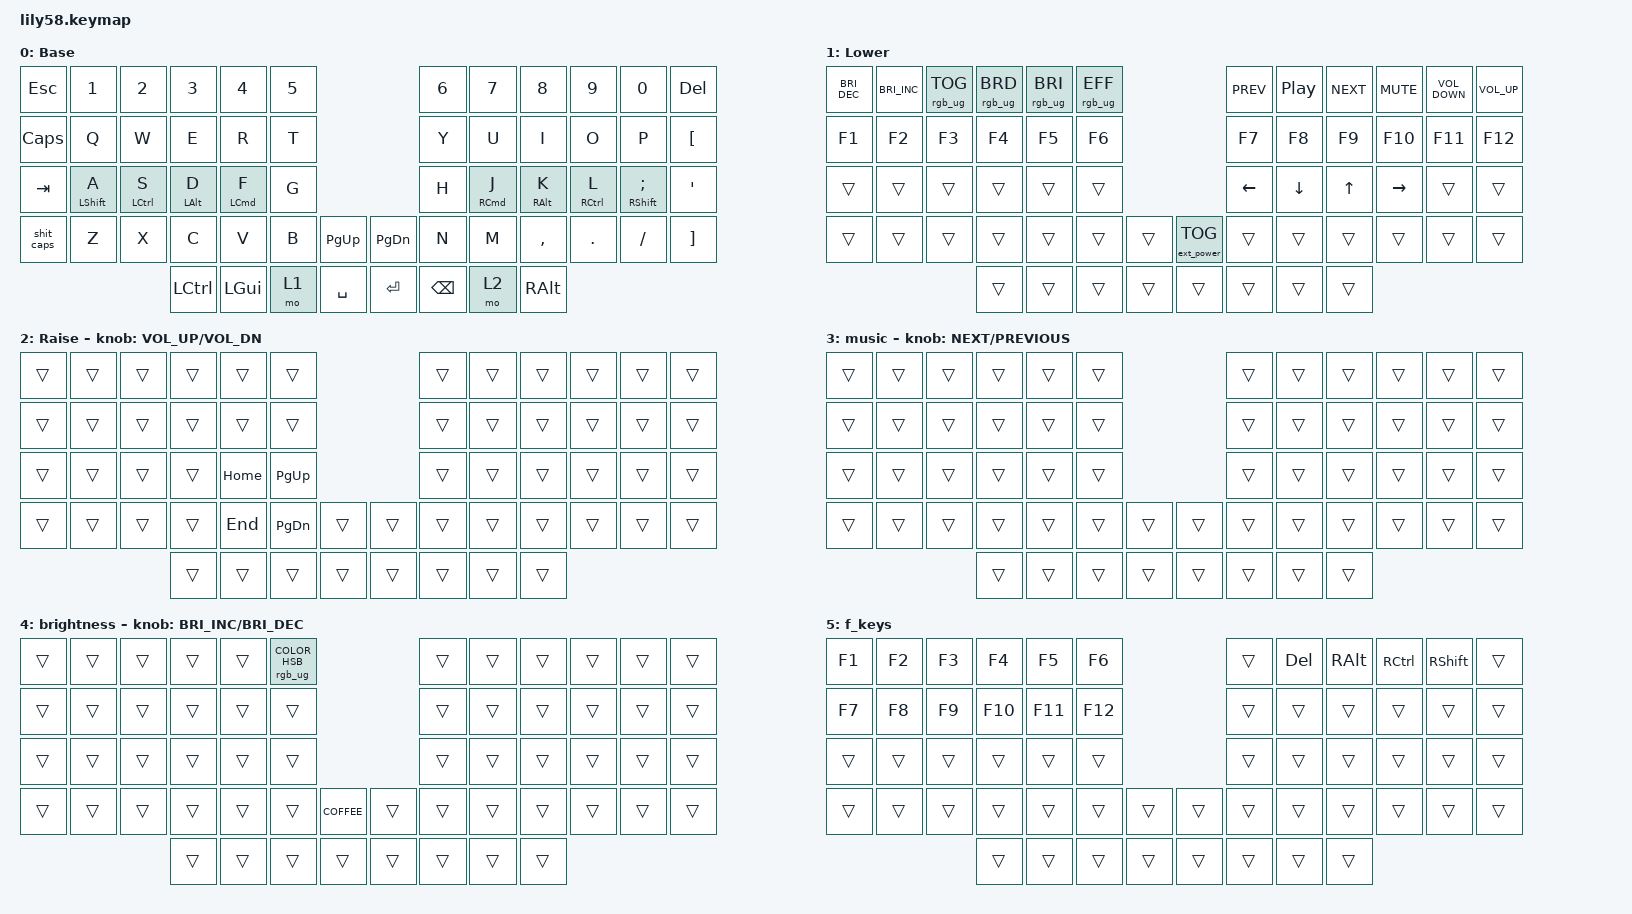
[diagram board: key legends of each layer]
/*
 * Copyright (c) 2020 The ZMK Contributors
 *
 * SPDX-License-Identifier: MIT
 */

#include <behaviors.dtsi>
#include <dt-bindings/zmk/ext_power.h>
#include <dt-bindings/zmk/keys.h>
#include <dt-bindings/zmk/rgb.h>

&led_strip {
    chain-length = <35>;
};

&nice_view_spi {
    cs-gpios = <&pro_micro 0 GPIO_ACTIVE_HIGH>;
};

/ {
    behaviors {
        hml: hml {
            compatible = "zmk,behavior-hold-tap";
            label = "HML";
            bindings = <&kp>, <&kp>;

            #binding-cells = <2>;
            tapping-term-ms = <200>;
            quick-tap-ms = <175>;
            require-prior-idle-ms = <150>;
            flavor = "balanced";
            hold-trigger-key-positions = <5 3 1 0 2 4 29 17 16 15 14 13 12 24 25 26 27 28 42 53 51 52 50 36 37 39 38 40 41 54 55 56 57>;
            hold-trigger-on-release;
        };

        hmr: hmr {
            compatible = "zmk,behavior-hold-tap";
            label = "HMR";
            bindings = <&kp>, <&kp>;

            #binding-cells = <2>;
            tapping-term-ms = <200>;
            quick-tap-ms = <175>;
            require-prior-idle-ms = <150>;
            flavor = "balanced";
            hold-trigger-on-release;
            hold-trigger-key-positions = <53 52 51 50 6 7 8 9 10 11 23 22 21 20 19 18 30 43 31 33 32 34 35 49 48 47 44 45 46 57 56 55 54>;
        };

        shit_caps: shit_caps {
            compatible = "zmk,behavior-tap-dance";
            label = "SHIT_CAPS";
            #binding-cells = <0>;
            bindings = <&kp LEFT_SHIFT>, <&kp CAPSLOCK>;
        };
    };

    combos {
        compatible = "zmk,combos";

        lpar_comb {
            bindings = <&kp LEFT_PARENTHESIS>;
            key-positions = <16 17>;
        };

        rpar_comb {
            bindings = <&kp RIGHT_PARENTHESIS>;
            key-positions = <18 19>;
        };

        lbkt_comb {
            bindings = <&kp LEFT_BRACKET>;
            key-positions = <28 29>;
        };

        rbkt_comb {
            bindings = <&kp RIGHT_BRACKET>;
            key-positions = <30 31>;
        };

        lbrc_comb {
            bindings = <&kp LEFT_BRACE>;
            key-positions = <40 41>;
        };

        rbrc_comb {
            bindings = <&kp RIGHT_BRACE>;
            key-positions = <44 45>;
        };

        pipe_comb {
            bindings = <&kp PIPE>;
            key-positions = <31 32>;
        };

        bsl_comb {
            bindings = <&kp BACKSLASH>;
            key-positions = <32 33>;
        };

        tld_comb {
            bindings = <&kp TILDE>;
            key-positions = <27 28>;
        };

        grv_comb {
            bindings = <&kp GRAVE>;
            key-positions = <27 26>;
        };

        pls_comb {
            bindings = <&kp PLUS>;
            key-positions = <40 39>;
        };

        ast_comb {
            bindings = <&kp ASTERISK>;
            key-positions = <39 38>;
        };

        mns_comb {
            bindings = <&kp MINUS>;
            key-positions = <45 46>;
        };

        uds_comb {
            bindings = <&kp UNDERSCORE>;
            key-positions = <46 47>;
        };

        eq_comb {
            bindings = <&kp EQUAL>;
            key-positions = <31 32 33>;
        };

        exc_comb {
            bindings = <&kp EXCLAMATION>;
            key-positions = <28 27 26>;
        };

        dlr_comb {
            bindings = <&kp DOLLAR>;
            key-positions = <31 20>;
        };

        crt_comb {
            bindings = <&kp CARET>;
            key-positions = <28 15>;
        };

        hsh_comb {
            bindings = <&kp HASH>;
            key-positions = <16 15>;
        };

        pct_comb {
            bindings = <&kp PERCENT>;
            key-positions = <20 19>;
        };

        at_comb {
            bindings = <&kp AT>;
            key-positions = <15 14>;
        };

        amp_comb {
            bindings = <&kp AMPERSAND>;
            key-positions = <20 21>;
        };
    };

    keymap {
        compatible = "zmk,keymap";

        default_layer {
            // ------------------------------------------------------------------------------------------------------------
            // |  ESC  |  1  |  2  |  3   |  4   |  5   |                   |  6   |  7    |  8    |  9   |   0   |   `   |
            // |  TAB  |  Q  |  W  |  E   |  R   |  T   |                   |  Y   |  U    |  I    |  O   |   P   |   -   |
            // |  CTRL |  A  |  S  |  D   |  F   |  G   |                   |  H   |  J    |  K    |  L   |   ;   |   '   |
            // | SHIFT |  Z  |  X  |  C   |  V   |  B   |   "["  |  |  "]"  |  N   |  M    |  ,    |  .   |   /   | SHIFT |
            //                     | ALT  | GUI  | LOWER|  SPACE |  | ENTER | RAISE| BSPC  | GUI   |

            display-name = "Base";
            bindings = <
&kp ESC       &kp N1             &kp N2               &kp N3            &kp N4               &kp N5                                &kp N6         &kp N7                &kp N8            &kp N9                &kp N0                      &kp DELETE
&kp CAPSLOCK  &kp Q              &kp W                &kp E             &kp R                &kp T                                 &kp Y          &kp U                 &kp I             &kp O                 &kp P                       &kp LEFT_BRACKET
&kp TAB       &hml LEFT_SHIFT A  &hml LEFT_CONTROL S  &hml LEFT_ALT D   &hml LEFT_COMMAND F  &kp G                                 &kp H          &hmr RIGHT_COMMAND J  &hmr RIGHT_ALT K  &hmr RIGHT_CONTROL L  &hmr RIGHT_SHIFT SEMICOLON  &kp SQT
&shit_caps    &kp Z              &kp X                &kp C             &kp V                &kp B   &kp PAGE_UP    &kp PAGE_DOWN  &kp N          &kp M                 &kp COMMA         &kp DOT               &kp FSLH                    &kp RIGHT_BRACKET
                                                      &kp LEFT_CONTROL  &kp LGUI             &mo 1   &kp SPACE      &kp RET        &kp BACKSPACE  &mo 2                 &kp RIGHT_ALT
            >;
        };

        lower_layer {
            // ------------------------------------------------------------------------------------------------------------
            // | BTCLR | BT1 | BT2 |  BT3 |  BT4 |  BT5 |                   |      |       |       |      |       |       |
            // |  F1   |  F2 |  F3 |  F4  |  F5  |  F6  |                   |  F7  |  F8   |  F9   |  F10 |  F11  |  F12  |
            // |   `   |  !  |  @  |  #   |  $   |  %   |                   |  ^   |  &    |  *    |  (   |   )   |   ~   |
            // |       |     |     |      |      |      |        |  |       |      |  _    |  +    |  {   |   }   |  "|"  |
            //                     |      |      |      |        |  |       |      |       |       |

            display-name = "Lower";
            bindings = <
&kp C_BRIGHTNESS_DEC  &kp C_BRIGHTNESS_INC  &rgb_ug RGB_TOG  &rgb_ug RGB_BRD  &rgb_ug RGB_BRI  &rgb_ug RGB_EFF                               &kp C_PREV  &kp C_PP  &kp C_NEXT    &kp K_MUTE  &kp C_VOLUME_DOWN  &kp C_VOLUME_UP
&kp F1                &kp F2                &kp F3           &kp F4           &kp F5           &kp F6                                        &kp F7      &kp F8    &kp F9        &kp F10     &kp F11            &kp F12
&trans                &trans                &trans           &trans           &trans           &trans                                        &kp LEFT    &kp DOWN  &kp UP_ARROW  &kp RIGHT   &trans             &trans
&trans                &trans                &trans           &trans           &trans           &trans           &trans    &ext_power EP_TOG  &trans      &trans    &trans        &trans      &trans             &trans
                                                             &trans           &trans           &trans           &trans    &trans             &trans      &trans    &trans
            >;
        };

        raise_layer {
            // ------------------------------------------------------------------------------------------------------------
            // |       |     |     |      |      |      |                   |      |       |       |      |       |       |
            // |   `   |  1  |  2  |  3   |  4   |  5   |                   |  6   |   7   |   8   |  9   |   0   |       |
            // |   F1  |  F2 |  F3 |  F4  |  F5  |  F6  |                   |      |   <-  |   v   |  ^   |  ->   |       |
            // |   F7  |  F8 |  F9 |  F10 |  F11 |  F12 |        |  |       |  +   |   -   |   =   |  [   |   ]   |   \   |
            //                     |      |      |      |        |  |       |      |       |       |

            display-name = "Raise";
            bindings = <
&trans  &trans  &trans  &trans  &trans    &trans                       &trans  &trans  &trans  &trans  &trans  &trans
&trans  &trans  &trans  &trans  &trans    &trans                       &trans  &trans  &trans  &trans  &trans  &trans
&trans  &trans  &trans  &trans  &kp HOME  &kp PG_UP                    &trans  &trans  &trans  &trans  &trans  &trans
&trans  &trans  &trans  &trans  &kp END   &kp PG_DN  &trans    &trans  &trans  &trans  &trans  &trans  &trans  &trans
                        &trans  &trans    &trans     &trans    &trans  &trans  &trans  &trans
            >;

            sensor-bindings = <&inc_dec_kp C_VOL_UP C_VOL_DN>;
        };

        music {
            bindings = <
&trans  &trans  &trans  &trans  &trans  &trans                    &trans  &trans  &trans  &trans  &trans  &trans
&trans  &trans  &trans  &trans  &trans  &trans                    &trans  &trans  &trans  &trans  &trans  &trans
&trans  &trans  &trans  &trans  &trans  &trans                    &trans  &trans  &trans  &trans  &trans  &trans
&trans  &trans  &trans  &trans  &trans  &trans  &trans    &trans  &trans  &trans  &trans  &trans  &trans  &trans
                        &trans  &trans  &trans  &trans    &trans  &trans  &trans  &trans
            >;

            sensor-bindings = <&inc_dec_kp C_NEXT C_PREVIOUS>;
        };

        brightness {
            bindings = <
&trans  &trans  &trans  &trans  &trans  &rgb_ug RGB_COLOR_HSB(178,100,50)                          &trans  &trans  &trans  &trans  &trans  &trans
&trans  &trans  &trans  &trans  &trans  &trans                                                     &trans  &trans  &trans  &trans  &trans  &trans
&trans  &trans  &trans  &trans  &trans  &trans                                                     &trans  &trans  &trans  &trans  &trans  &trans
&trans  &trans  &trans  &trans  &trans  &trans                             &kp K_COFFEE    &trans  &trans  &trans  &trans  &trans  &trans  &trans
                        &trans  &trans  &trans                             &trans          &trans  &trans  &trans  &trans
            >;

            sensor-bindings = <&inc_dec_kp C_BRIGHTNESS_INC C_BRIGHTNESS_DEC>;
        };

        f_keys {
            bindings = <
&kp F1  &kp F2  &kp F3  &kp F4   &kp F5   &kp F6                     &trans  &kp DEL  &kp RALT  &kp RCTRL  &kp RSHFT  &trans
&kp F7  &kp F8  &kp F9  &kp F10  &kp F11  &kp F12                    &trans  &trans   &trans    &trans     &trans     &trans
&trans  &trans  &trans  &trans   &trans   &trans                     &trans  &trans   &trans    &trans     &trans     &trans
&trans  &trans  &trans  &trans   &trans   &trans   &trans    &trans  &trans  &trans   &trans    &trans     &trans     &trans
                        &trans   &trans   &trans   &trans    &trans  &trans  &trans   &trans
            >;
        };
    };
};
